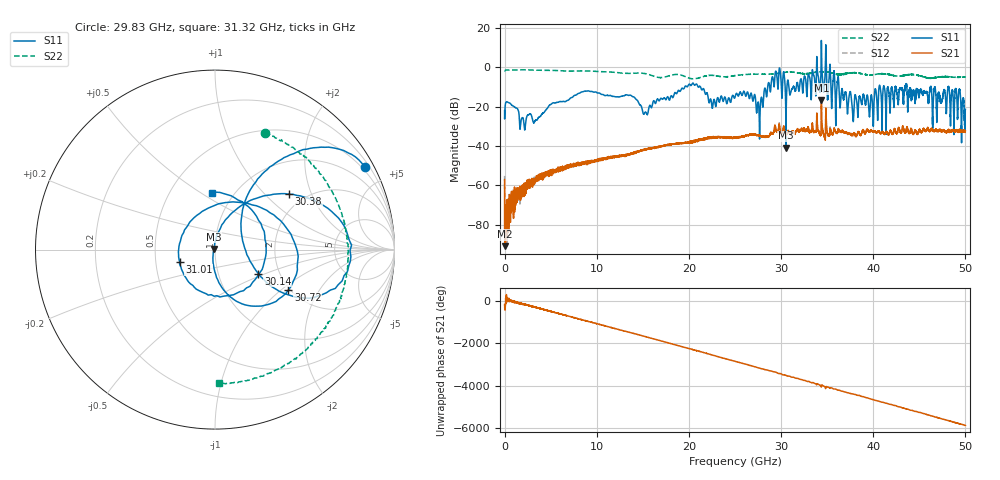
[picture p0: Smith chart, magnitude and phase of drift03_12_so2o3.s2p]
!Created with skrf (http://scikit-rf.org).
# Hz S RI R 50.0
!freq ReS11 ImS11 ReS21 ImS21 ReS12 ImS12 ReS22 ImS22
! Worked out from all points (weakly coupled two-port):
!   10001 points, 300 kHz to 50 GHz, reference 50 ohm
!   highest |S21| = -16.91 dB at 34.37 GHz (marker M1); lowest = -91.0 dB at 75.3 MHz (marker M2)
!   lowest |S11| = -41.0 dB at 30.53 GHz (marker M3), VSWR 1.02, Z = 49.2 + j0.395 ohm
!   |S11| at or under -10 dB: start of sweep to 19.56 GHz; 21.25 GHz to 28.55 GHz (7.297 GHz wide, 29.3 % of centre); 36.28 GHz to 40.63 GHz (4.347 GHz wide, 11.3 % of centre) (the widest 3 of 40)
!   |S22| runs from -6.0 to -1.3 dB; largest |S21 - S12| = 0.03
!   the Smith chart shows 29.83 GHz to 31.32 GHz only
!   S11 on the Smith chart (normalised r, x): 29.83 GHz: 0.36, +3.85; 30.14 GHz: 1.56, -0.45; 30.38 GHz: 1.67, +1.40; 30.72 GHz: 1.96, -1.12; 31.01 GHz: 0.66, -0.10; 31.32 GHz: 0.79, +0.56
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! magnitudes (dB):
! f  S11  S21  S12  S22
! 300 kHz  -22.1  -57.2  -55.3  -2.1
! 75.3 MHz  -19.0  -91.0  -81.0  -1.5
! 3.305 GHz  -27.2  -57.4  -56.9  -1.5
! 8.335 GHz  -12.6  -49.2  -48.8  -1.9
! 15.29 GHz  -22.8  -41.8  -41.7  -3.3
! 16.67 GHz  -16.5  -40.6  -40.5  -5.2
! 20.26 GHz  -9.2  -37.6  -38.2  -5.8
! 22.71 GHz  -16.5  -35.6  -35.5  -4.2
! 25 GHz  -15.3  -35.7  -35.6  -4.3
! 27.53 GHz  -17.8  -34.6  -34.6  -3.5
! 29.83 GHz  -0.4  -29.4  -28.9  -3.0
! 30.14 GHz  -11.2  -33.3  -33.6  -2.8
! 30.38 GHz  -5.8  -32.1  -32.5  -2.6
! 30.53 GHz  -41.0  -34.3  -34.2  -2.6
! 30.72 GHz  -6.6  -32.7  -32.9  -2.5
! 31.01 GHz  -13.6  -34.2  -34.1  -2.4
! 31.32 GHz  -9.9  -32.6  -32.5  -2.6
! 33.34 GHz  -7.4  -31.4  -31.5  -2.9
! 34.37 GHz  13.6  -16.9  -18.5  -2.3
! 37.84 GHz  -27.7  -34.1  -34.4  -2.9
! 41.67 GHz  -11.7  -34.2  -34.3  -3.6
! 50 GHz  -21.4  -32.5  -32.7  -5.0
